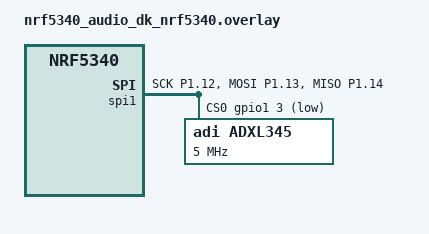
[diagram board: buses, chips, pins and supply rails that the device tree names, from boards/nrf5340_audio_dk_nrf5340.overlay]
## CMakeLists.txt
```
# SPDX-License-Identifier: Apache-2.0

cmake_minimum_required(VERSION 3.20.0)
find_package(Zephyr REQUIRED HINTS $ENV{ZEPHYR_BASE})
project(5.1.3)

target_sources(app PRIVATE src/main.c)
```

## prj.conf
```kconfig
#
# Copyright (c) 2024 Nordic Semiconductor
#
# SPDX-License-Identifier: LicenseRef-Nordic-5-Clause
#

CONFIG_LOG=y
CONFIG_CBPRINTF_FP_SUPPORT=y
CONFIG_RESET_ON_FATAL_ERROR=n

# STEP 1.1 - Enable Kconfigs for SPI and GPIO
CONFIG_GPIO=y
CONFIG_SPI=y
```

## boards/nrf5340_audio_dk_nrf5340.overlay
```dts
/* STEP 2.1 - Create an overlay file for your board */
&i2c0 {	status = "disabled";};
&spi0 {	status = "disabled";};
&i2c1 {	status = "disabled";};

&spi1 {
    compatible = "nordic,nrf-spim";
    status = "okay";
    pinctrl-0 = <&spi1_default>;
    pinctrl-1 = <&spi1_sleep>;
    pinctrl-names = "default", "sleep";
    cs-gpios = <&gpio1 3 GPIO_ACTIVE_LOW>;

    adxl345: adxl345@0 {
    compatible = "adi,adxl345";
    reg = <0>;
    spi-max-frequency = <5000000>;
    }; 
};
/* STEP 2.2 - Change the pin configuration */

&pinctrl {
    spi1_default: spi1_default {
        group1 {
            psels = <NRF_PSEL(SPIM_SCK, 1, 12)>,    // SCK
                    <NRF_PSEL(SPIM_MOSI, 1, 13)>,   // SDA
                    <NRF_PSEL(SPIM_MISO, 1, 14)>;   // SDO
        };
    };
    spi1_sleep: spi1_sleep {
        group1 {
            psels = <NRF_PSEL(SPIM_SCK, 1, 12)>,
                    <NRF_PSEL(SPIM_MOSI, 1, 13)>,
                    <NRF_PSEL(SPIM_MISO, 1, 14)>;
            low-power-enable;
        };
    };
};
```

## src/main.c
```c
/*
 * Copyright (c) 2024 Nordic Semiconductor ASA
 *
 * SPDX-License-Identifier: LicenseRef-Nordic-5-Clause
 */

#include <zephyr/kernel.h>
#include <zephyr/logging/log.h>
#include <zephyr/device.h>
#include <zephyr/devicetree.h>
#include <zephyr/drivers/gpio.h>
#include <zephyr/drivers/spi.h>

LOG_MODULE_REGISTER(Acc_sensor, LOG_LEVEL_INF);

/* 1000 msec = 1 sec */
#define SLEEP_TIME_MS   1000

/* The devicetree node identifier for the "led0" alias. */
#define LED0_NODE DT_ALIAS(led0)

#define DELAY_REG 		10
#define DELAY_PARAM		50
#define DELAY_VALUES	1000

// AD ACC registers
#define DEVID 			0x00			// Device ID
//#define RESERVED 		0x01 to 0x1C	// Reserved
#define THRESH_TAP 		0x1D 			// Tap threshold
#define OFSX  			0x1E 			// X-axis offset
#define OFSY  			0x1F			// Y-axis offset
#define OFSZ 			0x20 			// Z-axis offset
#define DUR 			0x21			// Tap duration
#define Latent 			0x22			// Tap latency
#define Window 			0x23			// Tap window
#define THRESH_ACT 		0x24			// Activity threshold
#define THRESH_INACT 	0x25			// Inactivity threshold
#define TIME_INACT 		0x26			// Inactivity time
#define ACT_INACT_CTL 	0x27			// Axis enable control for activity and inactivity detection
#define THRESH_FF 		0x28			// Free-fall threshold
#define TIME_FF			0x29			// Free-fall time
#define TAP_AXES		0x2A			// Axis control for single tap/double tap
#define ACT_TAP_STATUS  0x2B			// Source of single tap/double tap
#define BW_RATE 		0x2C			// Data rate and power mode control
#define POWER_CTL		0x2D			// Power-saving features control
#define INT_ENABLE		0x2E			// Interrupt enable control
#define INT_MAP 		0x2F			// Interrupt mapping control
#define INT_SOURCE		0x30			// Source of interrupts
#define DATA_FORMAT		0x31			// Data format control
#define DATAX0 			0x32			// X-Axis Data 0
#define DATAX1			0x33			// X-Axis Data 1
#define DATAY0 			0x34			// Y-Axis Data 0
#define DATAY1 			0x35			// Y-Axis Data 1
#define DATAZ0 			0x36			// Z-Axis Data 0
#define DATAZ1 			0x37			// Z-Axis Data 1
#define FIFO_CTL		0x38			// FIFO control
#define FIFO_STATUS 	0x39			// FIFO status

/*
 * A build error on this line means your board is unsupported.
 * See the sample documentation for information on how to fix this.
 */
const struct gpio_dt_spec led = GPIO_DT_SPEC_GET(LED0_NODE, gpios);

#define SPIOP	SPI_WORD_SET(8) | SPI_TRANSFER_MSB
struct spi_dt_spec spispec = SPI_DT_SPEC_GET(DT_NODELABEL(adxl345), SPIOP, 3);

/* Data structure to store BME280 data */
struct adxl345_data {
	/* Compensation parameters */
	uint8_t devid;
	uint8_t tap_threshold;
	uint8_t	x_axis_offset;
	uint8_t y_axis_offset;
	uint8_t z_axis_offset;
	uint8_t tap_duration;
	uint8_t	tap_latecy;
	uint8_t	tap_window;
	uint8_t	activity_threshold;
	uint8_t inactivity_threshold;
	uint8_t inactivity_time;
	uint8_t	axis_enable_control_for_act_or_inact_detection;
	uint8_t free_fall_threshold;
	uint8_t	free_fall_time;
	uint8_t	axis_control_for_single_tap_double_tap;
	uint8_t	source_of_single_tap_double_tap;
	uint8_t data_rate_and_power_mode_control;
	uint8_t	power_saving_features_control;
	uint8_t	interrupt_enable_control;
	uint8_t	interrupt_mapping_control;
	uint8_t source_of_interrupts;
	uint8_t data_format_control;
	uint8_t x_axis_data_0;
	uint8_t x_axis_data_1;
	uint8_t y_axis_data_0;
	uint8_t y_axis_data_1;
	uint8_t z_axis_data_0;
	uint8_t z_axis_data_1;
	uint8_t fifo_control;
	uint8_t fifo_status;
} adxl345_structure;

static int ad_read_reg(uint8_t reg, uint8_t *data, uint8_t size)
{
	int err;

	uint8_t tx_buffer = reg;
	struct spi_buf tx_spi_buf		= {.buf = (void *)&tx_buffer, .len = 1};
	struct spi_buf_set tx_spi_buf_set 	= {.buffers = &tx_spi_buf, .count = 1};
	struct spi_buf rx_spi_bufs 		= {.buf = data, .len = size};
	struct spi_buf_set rx_spi_buf_set	= {.buffers = &rx_spi_bufs, .count = 1};

	err = spi_transceive_dt(&spispec, &tx_spi_buf_set, &rx_spi_buf_set);
	if (err < 0) {
		LOG_ERR("spi_transceive_dt() failed, err: %d", err);
		return err;
	}

	return 0;
}

void ad_calibrationdata(void)
{
	uint8_t values[2];
	uint8_t size = 2;	
	
	uint8_t regaddr;
	LOG_INF("-------------------------------------------------------------");
	LOG_INF("adxl345: Reading from device ID register:");

	regaddr = DEVID;
	ad_read_reg(regaddr, values, size);
	adxl345_structure.devid = (uint8_t)values[1];
	LOG_INF("\tReg[0x%02x] %d Bytes read: DEV ID = %d", regaddr, size-1, adxl345_structure.devid);
	k_msleep(DELAY_PARAM);

	LOG_INF("-------------------------------------------------------------");

}

int main(void)
{
	int err;

	err = gpio_is_ready_dt(&led);
	if (!gpio_is_ready_dt(&led)) {
		LOG_ERR("Error: GPIO device is not ready, err: %d", err);
		return 0;
	}

	err = spi_is_ready_dt(&spispec);
	if (!err) {
		LOG_ERR("Error: SPI device is not ready, err: %d", err);
		return 0;
	}

	gpio_pin_configure_dt(&led, GPIO_OUTPUT_ACTIVE);

	ad_calibrationdata();

	while (1) {
		gpio_pin_toggle_dt(&led);
		k_msleep(SLEEP_TIME_MS);
	}
	return 0;
}
```
